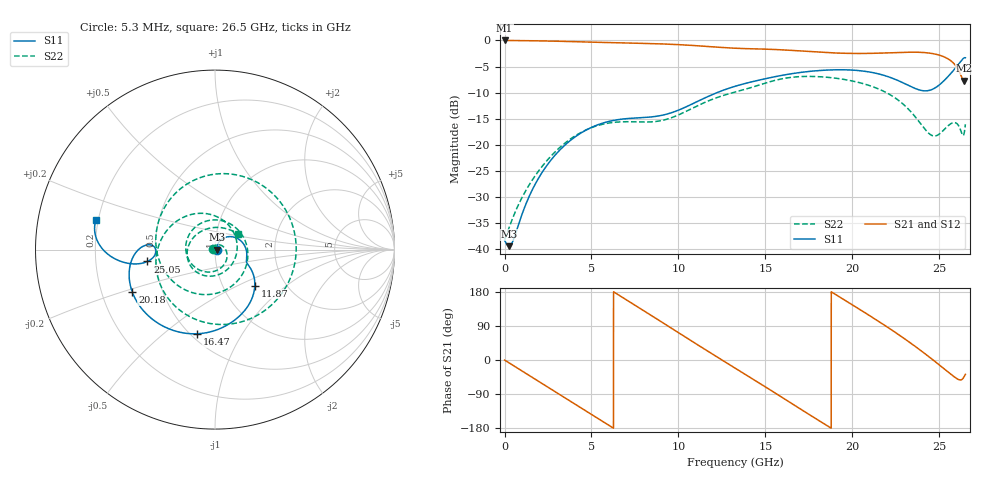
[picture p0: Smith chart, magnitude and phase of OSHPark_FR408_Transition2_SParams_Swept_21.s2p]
! TOUCHSTONE file generated by CST MICROWAVE STUDIO
! Date and time: Tue Jan  7 09:43:33 2020
! Project name: OSHPark_FR408_Transition2.cst
! Parameters = {GND_Plane_XMax=13; Cap_Disk_XOffset=0; Cap_Disk2_YCenter=-1.03; Cap_Disk_YCenter=1.03; Cap_Disk_XCenter=7.39; Cap_Disk_Radius=0.5; BottomSupport_Left_YMax=4.76; BottomSupport_Left_YMin=3.74; BottomSupport_Right_YMax=-3.74; BottomSupport_Right_YMin=-4.76; BottomSupport_XMax=11.64; Bot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
! Header version: 2015
! Port assignment regex: !\s*Touchstone port\s*([0-9]+)\s*=\s*CST MWS port\s*([0-9]+)\s*\(\"(.*)\"\)(\s*mode\s*([0-9]+))?.*
! Touchstone port assignment:
! Touchstone port 1 = CST MWS port 1 ("")
! Touchstone port 2 = CST MWS port 2 ("")
# GHz S MA R 50
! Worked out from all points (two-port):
!   5000 points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, 5.3 MHz to 26.5 GHz, reference 50 ohm
!   highest |S21| = 0.00 dB at 5.3 MHz (marker M1); lowest = -7.7 dB at 26.42 GHz (marker M2)
!   |S21| within 3 dB of the highest: start of sweep to 25.17 GHz
!   lowest |S11| = -39.4 dB at 254.4 MHz (marker M3), VSWR 1.02, Z = 51.1 + j0.0414 ohm
!   |S11| at or under -10 dB: start of sweep to 12.21 GHz
!   |S22| runs from -38.1 to -6.9 dB; largest |S21 - S12| = 0
!   S11 on the Smith chart (normalised r, x): 5.3 MHz: 1.02, -0.01; 11.87 GHz: 1.41, -0.62; 16.47 GHz: 0.54, -0.66; 20.18 GHz: 0.33, -0.22; 25.05 GHz: 0.45, -0.07; 26.5 GHz: 0.19, +0.12
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0.0053  0.01219 -23.7  0.9999 -0.2  0.9999 -0.2  0.01246 153.6
0.2544  0.01074 2.2  0.9992 -7.3  0.9992 -7.3  0.016 123.4
1.272  0.02824 60.8  0.9952 -36.6  0.9952 -36.6  0.03773 44.9
2.4645  0.0646 58.2  0.9879 -71.0  0.9879 -71.0  0.07161 -20.5
4.4255  0.131 31.0  0.9698 -127.3  0.9698 -127.3  0.1324 -109.5
5.5173  0.1592 13.6  0.9586 -158.5  0.9586 -158.5  0.1559 -156.1
6.5508  0.1748 -1.5  0.9491 171.9  0.9491 171.9  0.1658 158.4
8.8404  0.1892 -21.6  0.9286 105.9  0.9286 105.9  0.1689 41.1
10.2131  0.2227 -27.7  0.9081 65.9  0.9081 65.9  0.2011 -35.9
11.8667  0.2991 -42.2  0.8713 18.1  0.8713 18.1  0.27 -116.6
13.2553  0.3642 -59.7  0.8426 -21.2  0.8426 -21.2  0.3207 -174.1
14.9725  0.4295 -82.1  0.826 -70.0  0.826 -70.0  0.3894 120.0
16.4724  0.4796 -102.1  0.8037 -113.8  0.8037 -113.8  0.4432 56.0
17.6702  0.5082 -118.4  0.7797 -148.3  0.7797 -148.3  0.4525 2.8
19.0217  0.5239 -136.9  0.7586 173.4  0.7586 173.4  0.4356 -56.5
20.1771  0.518 -152.7  0.7508 140.6  0.7508 140.6  0.4031 -105.9
22.0851  0.4484 -176.7  0.7612 84.7  0.7612 84.7  0.3082 171.6
23.8341  0.3366 177.8  0.7706 28.5  0.7706 28.5  0.1671 72.3
25.0531  0.3819 -170.1  0.7187 -14.9  0.7187 -14.9  0.1291 -55.3
26.023  0.5703 -175.5  0.5487 -49.6  0.5487 -49.6  0.1594 -166.3
26.4205  0.6804 170.4  0.4113 -44.5  0.4113 -44.5  0.1276 73.0
26.5  0.6828 165.5  0.432 -37.9  0.432 -37.9  0.1577 30.9
